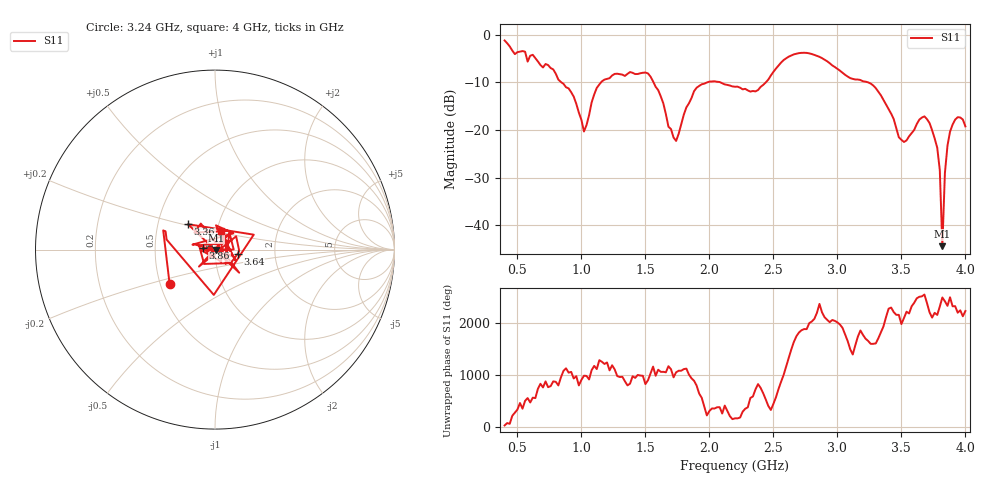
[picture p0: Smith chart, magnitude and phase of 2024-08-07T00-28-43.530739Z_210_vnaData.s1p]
!Created with skrf (http://scikit-rf.org).
# Hz S RI R 50.0
!freq ReS11 ImS11
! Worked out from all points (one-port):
!   181 points, 400 MHz to 4 GHz, reference 50 ohm
!   lowest |S11| = -44.4 dB at 3.82 GHz (marker M1), VSWR 1.01, Z = 50.5 - j0.256 ohm
!   |S11| at or under -10 dB: 1.564 GHz to 1.982 GHz (418.1 MHz wide, 23.6 % of centre); 2.086 GHz to 2.44 GHz (354.1 MHz wide, 15.6 % of centre); 3.241 GHz to end of sweep (the widest 3 of 4)
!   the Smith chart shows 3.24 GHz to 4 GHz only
!   S11 on the Smith chart (normalised r, x): 3.24 GHz: 0.56, -0.24; 3.36 GHz: 0.71, +0.21; 3.64 GHz: 1.29, -0.06; 3.86 GHz: 0.87, +0.01; 4 GHz: 1.04, +0.22
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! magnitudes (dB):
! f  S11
! 400 MHz  -1.2
! 860 MHz  -10.3
! 940 MHz  -13.0
! 1.02 GHz  -20.3
! 1.12 GHz  -11.2
! 1.3 GHz  -8.3
! 1.52 GHz  -8.1
! 1.62 GHz  -12.9
! 1.72 GHz  -21.6
! 1.76 GHz  -20.8
! 1.9 GHz  -11.1
! 2.2 GHz  -10.9
! 2.38 GHz  -11.6
! 2.66 GHz  -4.1
! 3.1 GHz  -9.1
! 3.24 GHz  -10.0
! 3.36 GHz  -13.7
! 3.48 GHz  -21.5
! 3.56 GHz  -21.3
! 3.64 GHz  -17.8
! 3.72 GHz  -18.5
! 3.78 GHz  -23.7
! 3.8 GHz  -28.4
! 3.82 GHz  -44.4
! 3.84 GHz  -29.0
! 3.86 GHz  -23.3
! 3.92 GHz  -17.8
! 4 GHz  -19.2
